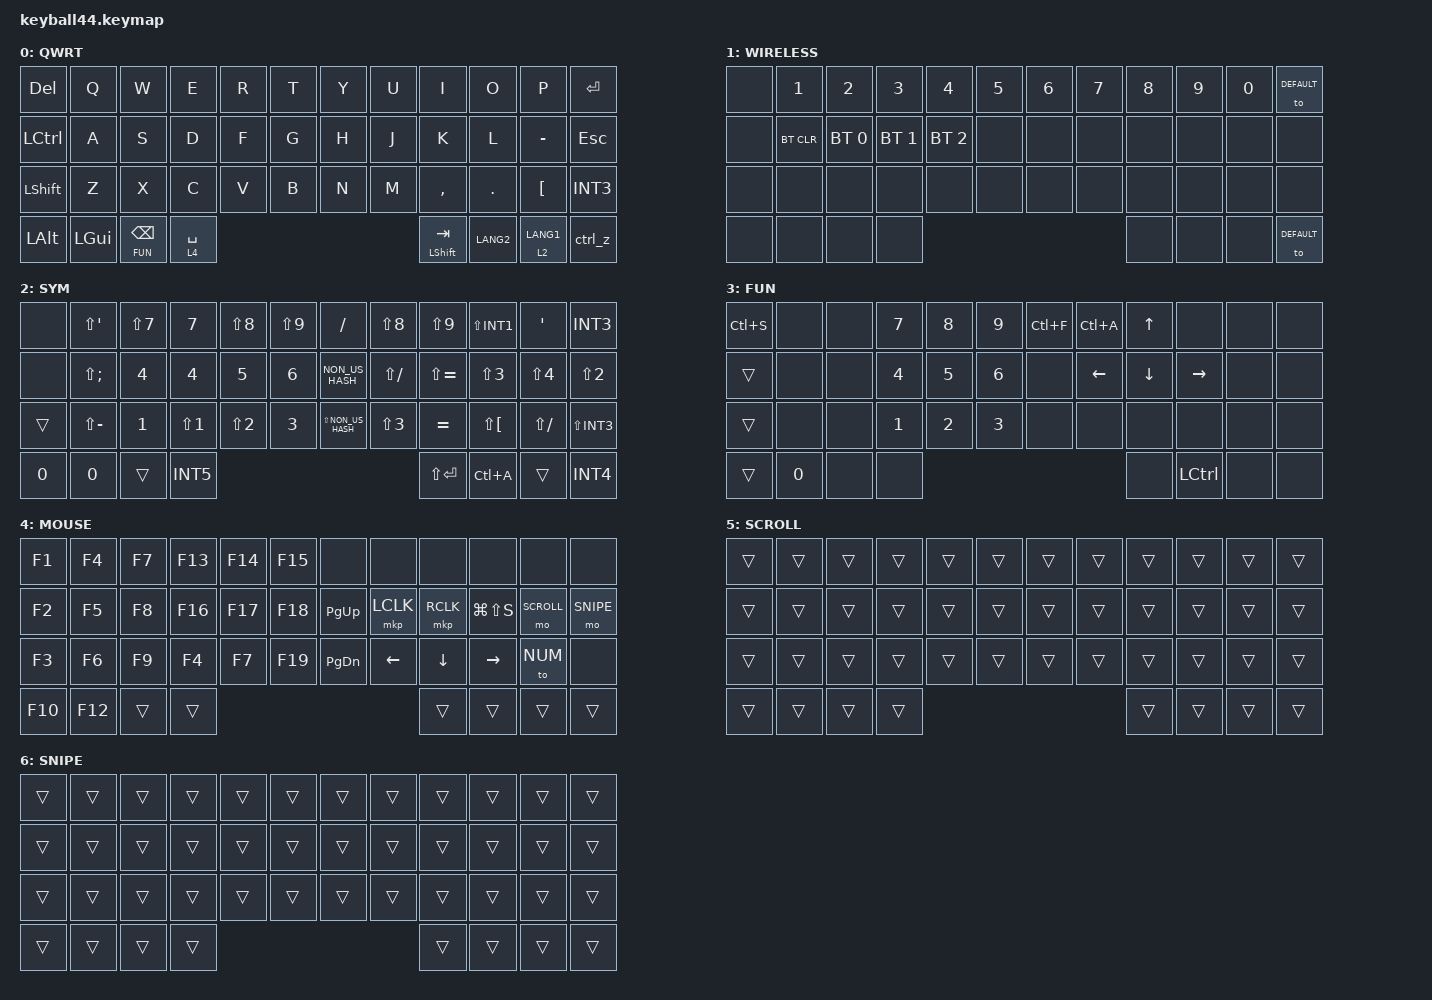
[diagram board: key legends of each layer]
#define DEFAULT 0
#define NUM     1
#define SYM     2
#define FUN     3
#define MOUSE   4
#define SCROLL  5
#define SNIPE   6

#include <behaviors/mouse_keys.dtsi>
#include <behaviors.dtsi>
#include <dt-bindings/zmk/bt.h>
#include <dt-bindings/zmk/keys.h>
#include <dt-bindings/zmk/mouse.h>

&lt {
    tapping-term-ms = <240>;
    flavor = "balanced";
    quick-tap-ms = <150>;
};

&mt {
    tapping-term-ms = <200>;
    flavor = "tap-preferred";
    quick-tap-ms = <150>;
};

&caps_word { continue-list = <UNDERSCORE MINUS>; };

/ {
    // custom shift using mod-morph 

    macros {
        ctrl_z: ctrl_z {
            compatible = "zmk,behavior-macro";
            label = "CTRL_Z";
            #binding-cells = <0>;
            wait-ms = <0>;
            tap-ms = <10>;
            bindings = <&macro_press &kp LCTRL>,
                       <&macro_tap &kp Z>,
                       <&macro_release &kp LCTRL>;
        };
    };

    behaviors {
        bs_fun: bs_fun {
            compatible = "zmk,behavior-hold-tap";
            label = "BS_FUN";
            #binding-cells = <2>;
            flavor = "balanced";
            tapping-term-ms = <240>;
            quick-tap-ms = <300>;
            hold-while-undecided;
            bindings = <&mo>, <&kp>;
        };

        combo_hold_130: combo_hold_130 {
            compatible = "zmk,behavior-hold-tap";
            label = "COMBO_HOLD_130";
            #binding-cells = <2>;
            flavor = "tap-preferred";
            tapping-term-ms = <130>;
            bindings = <&kp>, <&none>;
        };

        cmqus: comma_question {
            compatible = "zmk,behavior-mod-morph";
            label = "COMMA_QUESTION";
            #binding-cells = <0>;
            bindings = <&kp COMMA>, <&kp QUESTION>;

            mods = <(MOD_LSFT|MOD_RSFT)>;
        };

        dtsmi: dot_semi {
            compatible = "zmk,behavior-mod-morph";
            label = "DOT_SEMI";
            #binding-cells = <0>;
            bindings = <&kp DOT>, <&kp SEMI>;

            mods = <(MOD_LSFT|MOD_RSFT)>;
        };
    };

    keymap {
        compatible = "zmk,keymap";

        default_layer {
            label = "QWRT";
            bindings = <
&kp DELETE  &kp Q     &kp W     &kp E         &kp R      &kp T                 &kp Y      &kp U       &kp I             &kp O    &kp P             &kp ENTER
&kp LCTRL   &kp A     &kp S     &kp D         &kp F      &kp G                 &kp H      &kp J       &kp K             &kp L    &kp MINUS         &kp ESCAPE
&kp LSHIFT  &kp Z     &kp X     &kp C         &kp V      &kp B                 &kp N      &kp M       &kp COMMA         &kp DOT  &kp LEFT_BRACKET  &kp INT3
&kp LALT    &kp LGUI  &bs_fun FUN BACKSPACE  &lt 4 SPACE  &mt LSHIFT TAB        &kp LANG2  &lt 2 LANG1                                          &ctrl_z
            >;
        };

        number_layer {
            label = "WIRELESS";
            bindings = <
&none  &kp N1       &kp N2       &kp N3       &kp N4       &kp N5              &kp N6  &kp N7  &kp N8  &kp N9  &kp N0  &to DEFAULT
&none  &bt BT_CLR   &bt BT_SEL 0 &bt BT_SEL 1 &bt BT_SEL 2 &none                &none   &none   &none   &none   &none   &none
&none  &none        &none        &none        &none        &none                &none   &none   &none   &none   &none   &none
&none  &none        &none        &none        &none                         &none  &none                                &to DEFAULT
            >;
        };

        symbol_layer {
            label = "SYM";
            bindings = <
&none   &kp LS(SQT)   &kp LS(N7)     &kp N7        &kp LS(N8)          &kp LS(N9)              &kp SLASH              &kp LS(N8)  &kp LS(N9)     &kp LS(INT1)          &kp SQT        &kp INT3
&none   &kp LS(SEMI)  &kp N4         &kp N4        &kp N5              &kp N6                  &kp NON_US_HASH        &kp LS(SLASH)  &kp LS(EQUAL)  &kp LS(N3)            &kp LS(N4)     &kp LS(N2)
&trans  &kp LS(MINUS) &kp N1         &kp LS(N1)    &kp LS(N2)          &kp N3                  &kp LS(NON_US_HASH)    &kp LS(N3)     &kp EQUAL      &kp LS(LEFT_BRACKET)  &kp LS(SLASH)  &kp LS(INT3)
&kp N0  &kp N0        &trans         &kp INT5      &kp LS(ENTER)                         &kp LC(A)  &trans                                                             &kp INT4
            >;
        };

        function_layer {
            label = "FUN";
            bindings = <
&kp LC(S)  &none  &none  &kp N7  &kp N8  &kp N9              &kp LC(F)  &kp LC(A)  &kp UP     &none      &none  &none
&trans     &none  &none  &kp N4  &kp N5  &kp N6              &none      &kp LEFT   &kp DOWN   &kp RIGHT  &none  &none
&trans     &none  &none  &kp N1  &kp N2  &kp N3              &none      &none      &none      &none      &none  &none
&trans     &kp N0 &none  &none   &none                  &kp LCTRL  &none                                &none
            >;
        };

        mouse_layer {
            label = "MOUSE";
            bindings = <
&kp F1   &kp F4   &kp F7   &kp F13  &kp F14  &kp F15              &none          &none      &none     &none          &none        &none
&kp F2   &kp F5   &kp F8   &kp F16  &kp F17  &kp F18              &kp PAGE_UP    &mkp LCLK  &mkp RCLK &kp LG(LS(S)) &mo SCROLL  &mo SNIPE
&kp F3   &kp F6   &kp F9   &kp F4   &kp F7   &kp F19              &kp PAGE_DOWN  &kp LEFT   &kp DOWN  &kp RIGHT     &to NUM      &none
&kp F10  &kp F12  &trans   &trans   &trans                    &trans  &trans                                          &trans
            >;
        };

        scroll_layer {
            label = "SCROLL";
            bindings = <
&trans  &trans  &trans  &trans  &trans  &trans              &trans  &trans  &trans  &trans  &trans  &trans
&trans  &trans  &trans  &trans  &trans  &trans              &trans  &trans  &trans  &trans  &trans  &trans
&trans  &trans  &trans  &trans  &trans  &trans              &trans  &trans  &trans  &trans  &trans  &trans
&trans  &trans  &trans  &trans  &trans              &trans  &trans                                  &trans
            >;
        };

        snipe_layer {
            label = "SNIPE";
            bindings = <
&trans  &trans  &trans  &trans  &trans  &trans              &trans  &trans  &trans  &trans  &trans  &trans
&trans  &trans  &trans  &trans  &trans  &trans              &trans  &trans  &trans  &trans  &trans  &trans
&trans  &trans  &trans  &trans  &trans  &trans              &trans  &trans  &trans  &trans  &trans  &trans
&trans  &trans  &trans  &trans  &trans              &trans  &trans                                  &trans
            >;
        };
    };
#include "combos.dtsi"
};
